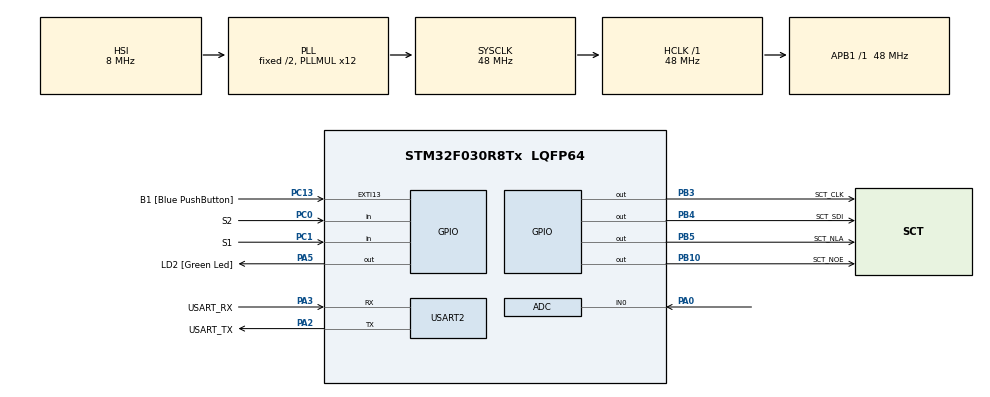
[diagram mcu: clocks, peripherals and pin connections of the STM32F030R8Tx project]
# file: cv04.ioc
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ADC.ContinuousConvMode=ENABLE
ADC.Overrun=ADC_OVR_DATA_OVERWRITTEN
ADC.SamplingTime=ADC_SAMPLETIME_239CYCLES_5
Mcu.Family=STM32F0
Mcu.Name=STM32F030R8Tx
Mcu.Package=LQFP64
NVIC.ADC1_IRQn=true\:0\:0\:false\:false\:true\:true\:true\:true
PA0.Mode=IN0
PA0.Signal=ADC_IN0
PA13.GPIO_Label=TMS
PA13.Mode=Serial_Wire
PA13.Signal=SYS_SWDIO
PA14.GPIO_Label=TCK
PA14.Mode=Serial_Wire
PA14.Signal=SYS_SWCLK
PA2.GPIO_Label=USART_TX
PA2.GPIO_Mode=GPIO_MODE_AF_PP
PA2.GPIO_PuPd=GPIO_NOPULL
PA2.GPIO_Speed=GPIO_SPEED_FREQ_LOW
PA2.Mode=Asynchronous
PA2.Signal=USART2_TX
PA3.GPIO_Label=USART_RX
PA3.GPIO_Mode=GPIO_MODE_AF_PP
PA3.GPIO_PuPd=GPIO_NOPULL
PA3.GPIO_Speed=GPIO_SPEED_FREQ_LOW
PA3.Mode=Asynchronous
PA3.Signal=USART2_RX
PA5.GPIO_Label=LD2 [Green Led]
PA5.GPIO_Mode=GPIO_MODE_OUTPUT_PP
PA5.GPIO_PuPd=GPIO_NOPULL
PA5.GPIO_Speed=GPIO_SPEED_FREQ_LOW
PA5.Signal=GPIO_Output
PB10.GPIO_Label=SCT_NOE
PB10.Signal=GPIO_Output
PB3.GPIO_Label=SCT_CLK
PB3.Signal=GPIO_Output
PB4.GPIO_Label=SCT_SDI
PB4.Signal=GPIO_Output
PB5.GPIO_Label=SCT_NLA
PB5.Signal=GPIO_Output
PC0.GPIO_Label=S2
PC0.GPIO_PuPd=GPIO_PULLUP
PC0.Signal=GPIO_Input
PC1.GPIO_Label=S1
PC1.GPIO_PuPd=GPIO_PULLUP
PC1.Signal=GPIO_Input
PC13.GPIO_Label=B1 [Blue PushButton]
PC13.GPIO_ModeDefaultEXTI=GPIO_MODE_IT_FALLING
PC13.Signal=GPXTI13
PC14-OSC32_IN.Mode=LSE-External-Oscillator
PC14-OSC32_IN.Signal=RCC_OSC32_IN
PC15-OSC32_OUT.Mode=LSE-External-Oscillator
PC15-OSC32_OUT.Signal=RCC_OSC32_OUT
PF0-OSC_IN.Mode=HSE-External-Clock-Source
PF0-OSC_IN.Signal=RCC_OSC_IN
PF1-OSC_OUT.Signal=RCC_OSC_OUT
ProjectManager.HeapSize=0x200
ProjectManager.StackSize=0x400
ProjectManager.TargetToolchain=STM32CubeIDE
RCC.AHBFreq_Value=48000000
RCC.APB1Freq_Value=48000000
RCC.APB1TimFreq_Value=48000000
RCC.HCLKFreq_Value=48000000
RCC.PLLMUL=RCC_PLL_MUL12
RCC.SYSCLKFreq_VALUE=48000000
RCC.SYSCLKSource=RCC_SYSCLKSOURCE_PLLCLK
USART2.VirtualMode-Asynchronous=VM_ASYNC
VP_ADC_TempSens_Input.Mode=IN-TempSens
VP_ADC_Vref_Input.Mode=IN-Vrefint
board=NUCLEO-F030R8

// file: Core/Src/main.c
/* USER CODE BEGIN Header */
/**
  ******************************************************************************
  * @file           : main.c
  * @brief          : Main program body
  ******************************************************************************
  * @attention
  *
  * Copyright (c) 2024 STMicroelectronics.
  * All rights reserved.
  *
  * This software is licensed under terms that can be found in the LICENSE file
  * in the root directory of this software component.
  * If no LICENSE file comes with this software, it is provided AS-IS.
  *
  ******************************************************************************
  */
/* USER CODE END Header */
#include "main.h"

/* USER CODE BEGIN Includes */
#include "sct.h"

/* USER CODE END Includes */

/* USER CODE BEGIN PD */
#define ADC_Q  6

/* Temperature sensor calibration value address */
#define TEMP110_CAL_ADDR ((uint16_t*) ((uint32_t) 0x1FFFF7C2))
#define TEMP30_CAL_ADDR ((uint16_t*) ((uint32_t) 0x1FFFF7B8))

/* Internal voltage reference calibration value address */
#define VREFINT_CAL_ADDR ((uint16_t*) ((uint32_t) 0x1FFFF7BA))

/* USER CODE END PD */

ADC_HandleTypeDef hadc;

UART_HandleTypeDef huart2;

/* USER CODE BEGIN PV */
static volatile uint32_t raw_pot;
static volatile uint32_t raw_temp;
static volatile uint32_t raw_volt;

/* USER CODE END PV */

void SystemClock_Config(void);
static void MX_GPIO_Init(void);
static void MX_USART2_UART_Init(void);
static void MX_ADC_Init(void);

int main(void)
{

  /* MCU Configuration--------------------------------------------------------*/

  /* Reset of all peripherals, Initializes the Flash interface and the Systick. */
  HAL_Init();

  /* Configure the system clock */
  SystemClock_Config();

  /* Initialize all configured peripherals */
  MX_GPIO_Init();
  MX_USART2_UART_Init();
  MX_ADC_Init();
  /* USER CODE BEGIN 2 */
  sct_init();
  sct_led(0x0);
  HAL_Delay(1000);

  HAL_ADCEx_Calibration_Start(&hadc);
  HAL_ADC_Start_IT(&hadc);

  /* USER CODE END 2 */

  /* Infinite loop */
  while (1)
  {

    /* USER CODE BEGIN 3 */
	  uint16_t rescaled_pot;
	  uint8_t bargraph_leds;
	  uint32_t voltage;
	  int32_t  temperature;
	  static uint32_t delay;

	  static enum { SHOW_POT, SHOW_VOLT, SHOW_TEMP } state = SHOW_POT;

	  rescaled_pot = (raw_pot * 501) / 4096;
	  bargraph_leds = (raw_pot * 9) / 4096;

	  voltage = 330 * (*VREFINT_CAL_ADDR) / raw_volt;

	  temperature = (raw_temp - (int32_t)(*TEMP30_CAL_ADDR));
	  temperature = temperature * (int32_t)(110 - 30);
	  temperature = temperature / (int32_t)(*TEMP110_CAL_ADDR - *TEMP30_CAL_ADDR);
	  temperature = temperature + 30;

	  if (HAL_GPIO_ReadPin(S1_GPIO_Port, S1_Pin) == 0){
		  state = SHOW_VOLT;
		  delay = HAL_GetTick();
	  }
	  if (HAL_GPIO_ReadPin(S2_GPIO_Port, S2_Pin) == 0){
		  state = SHOW_TEMP;
		  delay = HAL_GetTick();
	  }
	  if (HAL_GetTick() > delay + 1000) {
          state = SHOW_POT;
		  //delay = HAL_GetTick();
	  }

	  switch (state) {
	    case SHOW_POT:
	    	sct_value(rescaled_pot, bargraph_leds);
	      	break;

	    case SHOW_VOLT:
	    	sct_value(voltage, 0);
	        break;

	    case SHOW_TEMP:
	    	sct_value(temperature, 0);
	    	break;
//	    default:
//	    	sct_value(rescaled_pot, bargraph_leds);
//	    	HAL_Delay(50);
//	    	state = 0;
	  }

	  HAL_Delay(50);

  }
  /* USER CODE END 3 */
}

void SystemClock_Config(void)
{
  RCC_OscInitTypeDef RCC_OscInitStruct = {0};
  RCC_ClkInitTypeDef RCC_ClkInitStruct = {0};

  /** Initializes the RCC Oscillators according to the specified parameters
  * in the RCC_OscInitTypeDef structure.
  */
  RCC_OscInitStruct.OscillatorType = RCC_OSCILLATORTYPE_HSI|RCC_OSCILLATORTYPE_HSI14;
  RCC_OscInitStruct.HSIState = RCC_HSI_ON;
  RCC_OscInitStruct.HSI14State = RCC_HSI14_ON;
  RCC_OscInitStruct.HSICalibrationValue = RCC_HSICALIBRATION_DEFAULT;
  RCC_OscInitStruct.HSI14CalibrationValue = 16;
  RCC_OscInitStruct.PLL.PLLState = RCC_PLL_ON;
  RCC_OscInitStruct.PLL.PLLSource = RCC_PLLSOURCE_HSI;
  RCC_OscInitStruct.PLL.PLLMUL = RCC_PLL_MUL12;
  RCC_OscInitStruct.PLL.PREDIV = RCC_PREDIV_DIV1;
  if (HAL_RCC_OscConfig(&RCC_OscInitStruct) != HAL_OK)
  {
    Error_Handler();
  }

  /** Initializes the CPU, AHB and APB buses clocks
  */
  RCC_ClkInitStruct.ClockType = RCC_CLOCKTYPE_HCLK|RCC_CLOCKTYPE_SYSCLK
                              |RCC_CLOCKTYPE_PCLK1;
  RCC_ClkInitStruct.SYSCLKSource = RCC_SYSCLKSOURCE_PLLCLK;
  RCC_ClkInitStruct.AHBCLKDivider = RCC_SYSCLK_DIV1;
  RCC_ClkInitStruct.APB1CLKDivider = RCC_HCLK_DIV1;

  if (HAL_RCC_ClockConfig(&RCC_ClkInitStruct, FLASH_LATENCY_1) != HAL_OK)
  {
    Error_Handler();
  }
}

static void MX_ADC_Init(void)
{

  ADC_ChannelConfTypeDef sConfig = {0};

  /** Configure the global features of the ADC (Clock, Resolution, Data Alignment and number of conversion)
  */
  hadc.Instance = ADC1;
  hadc.Init.ClockPrescaler = ADC_CLOCK_ASYNC_DIV1;
  hadc.Init.Resolution = ADC_RESOLUTION_12B;
  hadc.Init.DataAlign = ADC_DATAALIGN_RIGHT;
  hadc.Init.ScanConvMode = ADC_SCAN_DIRECTION_FORWARD;
  hadc.Init.EOCSelection = ADC_EOC_SINGLE_CONV;
  hadc.Init.LowPowerAutoWait = DISABLE;
  hadc.Init.LowPowerAutoPowerOff = DISABLE;
  hadc.Init.ContinuousConvMode = ENABLE;
  hadc.Init.DiscontinuousConvMode = DISABLE;
  hadc.Init.ExternalTrigConv = ADC_SOFTWARE_START;
  hadc.Init.ExternalTrigConvEdge = ADC_EXTERNALTRIGCONVEDGE_NONE;
  hadc.Init.DMAContinuousRequests = DISABLE;
  hadc.Init.Overrun = ADC_OVR_DATA_OVERWRITTEN;
  if (HAL_ADC_Init(&hadc) != HAL_OK)
  {
    Error_Handler();
  }

  /** Configure for the selected ADC regular channel to be converted.
  */
  sConfig.Channel = ADC_CHANNEL_0;
  sConfig.Rank = ADC_RANK_CHANNEL_NUMBER;
  sConfig.SamplingTime = ADC_SAMPLETIME_239CYCLES_5;
  if (HAL_ADC_ConfigChannel(&hadc, &sConfig) != HAL_OK)
  {
    Error_Handler();
  }

  /** Configure for the selected ADC regular channel to be converted.
  */
  sConfig.Channel = ADC_CHANNEL_TEMPSENSOR;
  if (HAL_ADC_ConfigChannel(&hadc, &sConfig) != HAL_OK)
  {
    Error_Handler();
  }

  /** Configure for the selected ADC regular channel to be converted.
  */
  sConfig.Channel = ADC_CHANNEL_VREFINT;
  if (HAL_ADC_ConfigChannel(&hadc, &sConfig) != HAL_OK)
  {
    Error_Handler();
  }

}

static void MX_USART2_UART_Init(void)
{

  huart2.Instance = USART2;
  huart2.Init.BaudRate = 38400;
  huart2.Init.WordLength = UART_WORDLENGTH_8B;
  huart2.Init.StopBits = UART_STOPBITS_1;
  huart2.Init.Parity = UART_PARITY_NONE;
  huart2.Init.Mode = UART_MODE_TX_RX;
  huart2.Init.HwFlowCtl = UART_HWCONTROL_NONE;
  huart2.Init.OverSampling = UART_OVERSAMPLING_16;
  huart2.Init.OneBitSampling = UART_ONE_BIT_SAMPLE_DISABLE;
  huart2.AdvancedInit.AdvFeatureInit = UART_ADVFEATURE_NO_INIT;
  if (HAL_UART_Init(&huart2) != HAL_OK)
  {
    Error_Handler();
  }

}

static void MX_GPIO_Init(void)
{
  GPIO_InitTypeDef GPIO_InitStruct = {0};

  /* GPIO Ports Clock Enable */
  __HAL_RCC_GPIOC_CLK_ENABLE();
  __HAL_RCC_GPIOF_CLK_ENABLE();
  __HAL_RCC_GPIOA_CLK_ENABLE();
  __HAL_RCC_GPIOB_CLK_ENABLE();

  /*Configure GPIO pin Output Level */
  HAL_GPIO_WritePin(LD2_GPIO_Port, LD2_Pin, GPIO_PIN_RESET);

  /*Configure GPIO pin Output Level */
  HAL_GPIO_WritePin(GPIOB, SCT_NOE_Pin|SCT_CLK_Pin|SCT_SDI_Pin|SCT_NLA_Pin, GPIO_PIN_RESET);

  /*Configure GPIO pin : B1_Pin */
  GPIO_InitStruct.Pin = B1_Pin;
  GPIO_InitStruct.Mode = GPIO_MODE_IT_FALLING;
  GPIO_InitStruct.Pull = GPIO_NOPULL;
  HAL_GPIO_Init(B1_GPIO_Port, &GPIO_InitStruct);

  /*Configure GPIO pins : S2_Pin S1_Pin */
  GPIO_InitStruct.Pin = S2_Pin|S1_Pin;
  GPIO_InitStruct.Mode = GPIO_MODE_INPUT;
  GPIO_InitStruct.Pull = GPIO_PULLUP;
  HAL_GPIO_Init(GPIOC, &GPIO_InitStruct);

  /*Configure GPIO pin : LD2_Pin */
  GPIO_InitStruct.Pin = LD2_Pin;
  GPIO_InitStruct.Mode = GPIO_MODE_OUTPUT_PP;
  GPIO_InitStruct.Pull = GPIO_NOPULL;
  GPIO_InitStruct.Speed = GPIO_SPEED_FREQ_LOW;
  HAL_GPIO_Init(LD2_GPIO_Port, &GPIO_InitStruct);

  /*Configure GPIO pins : SCT_NOE_Pin SCT_CLK_Pin SCT_SDI_Pin SCT_NLA_Pin */
  GPIO_InitStruct.Pin = SCT_NOE_Pin|SCT_CLK_Pin|SCT_SDI_Pin|SCT_NLA_Pin;
  GPIO_InitStruct.Mode = GPIO_MODE_OUTPUT_PP;
  GPIO_InitStruct.Pull = GPIO_NOPULL;
  GPIO_InitStruct.Speed = GPIO_SPEED_FREQ_LOW;
  HAL_GPIO_Init(GPIOB, &GPIO_InitStruct);

}

/* USER CODE BEGIN 4 */
void HAL_ADC_ConvCpltCallback(ADC_HandleTypeDef* hadc){

	static uint8_t channel;
	static uint32_t avg_pot;

	if (channel == 0){
		raw_pot = avg_pot >> ADC_Q;
		avg_pot -= raw_pot;
		avg_pot += HAL_ADC_GetValue(hadc);
	}
	else if (channel == 1){
		raw_temp = HAL_ADC_GetValue(hadc);
	}
	else {
		raw_volt = HAL_ADC_GetValue(hadc);
	};

	if (__HAL_ADC_GET_FLAG(hadc, ADC_FLAG_EOS)) channel = 0;
	else channel++;

}
/* USER CODE END 4 */

void Error_Handler(void)
{
  __disable_irq();
  while (1)
  {
  }
}
